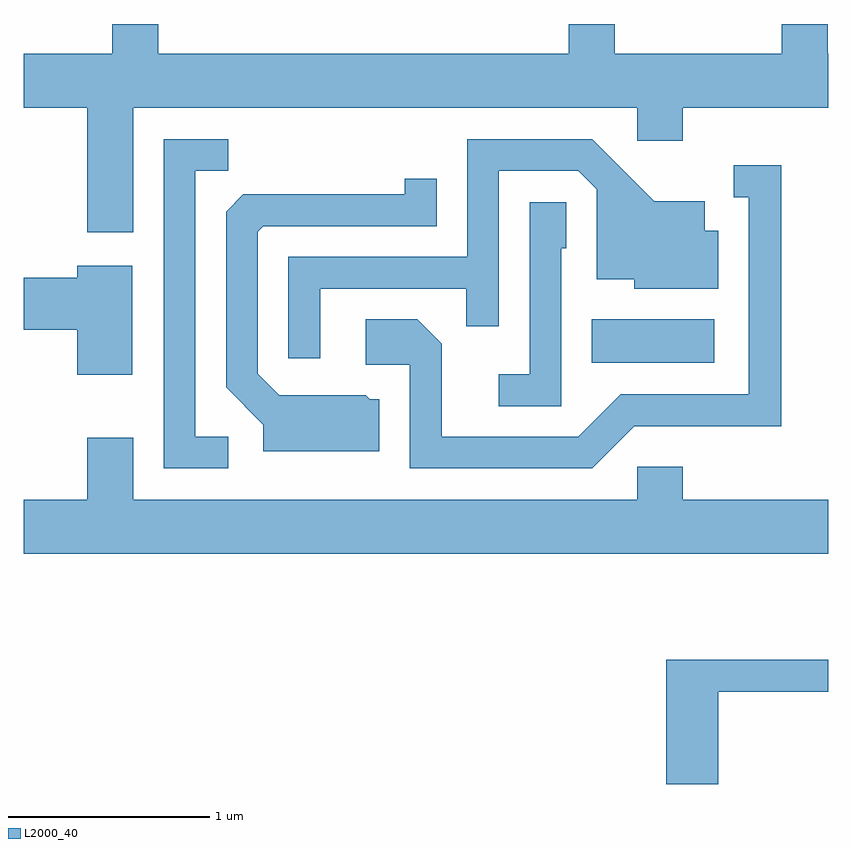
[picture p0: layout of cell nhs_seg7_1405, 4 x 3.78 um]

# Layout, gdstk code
import gdstk
lib = gdstk.Library(unit=1e-6, precision=1e-09)
def R(c, l, rs):  # rectangles x0, y0, x1, y1
    for r in rs: c.add(gdstk.rectangle(r[:2], r[2:], *l))
def P(c, l, *ps):  # polygons
    for p in ps: c.add(gdstk.Polygon(p, *l))
L2000_40 = (2000, 40)

nhs_seg7_1405 = lib.new_cell('nhs_seg7_1405')
R(nhs_seg7_1405, L2000_40, [(230.436,1748.566,231.044,1748.784)])
P(nhs_seg7_1405, L2000_40, [(228.154,1749.836),(230.661,1749.836),(230.661,1749.671),(230.889,1749.671),(230.889,1749.836),(231.611,1749.836),(231.611,1750.104),(231.609,1750.104),(231.609,1750.252),(231.381,1750.252),(231.381,1750.104),(230.549,1750.104),(230.549,1750.252),(230.321,1750.252),(230.321,1750.104),(228.279,1750.104),(228.279,1750.252),(228.051,1750.252),(228.051,1750.104),(227.611,1750.104),(227.611,1749.836),(227.926,1749.836),(227.926,1749.216),(228.154,1749.216)],
  [(229.084,1748.936),(229.811,1748.936),(229.811,1748.748),(229.974,1748.748),(229.974,1749.521),(230.369,1749.521),(230.461,1749.429),(230.461,1748.981),(230.646,1748.981),(230.646,1748.936),(231.064,1748.936),(231.064,1749.224),(230.999,1749.224),(230.999,1749.369),(230.747,1749.369),(230.437,1749.679),(229.816,1749.679),(229.816,1749.094),(228.926,1749.094),(228.926,1748.588),(229.084,1748.588)],
  [(228.628,1748.199),(228.464,1748.199),(228.464,1749.521),(228.628,1749.521),(228.628,1749.679),(228.306,1749.679),(228.306,1748.041),(228.628,1748.041)],
  [(230.647,1748.251),(231.379,1748.251),(231.379,1749.549),(231.143,1749.549),(231.143,1749.391),(231.216,1749.391),(231.216,1748.409),(230.579,1748.409),(230.369,1748.199),(229.689,1748.199),(229.689,1748.662),(229.567,1748.784),(229.311,1748.784),(229.311,1748.556),(229.531,1748.556),(229.531,1748.041),(230.437,1748.041)],
  [(229.379,1748.384),(229.332,1748.384),(229.312,1748.404),(228.882,1748.404),(228.774,1748.512),(228.774,1749.219),(228.802,1749.246),(229.664,1749.246),(229.664,1749.483),(229.506,1749.483),(229.506,1749.404),(228.702,1749.404),(228.616,1749.319),(228.616,1748.444),(228.801,1748.259),(228.801,1748.126),(229.379,1748.126)],
  [(230.284,1749.136),(230.309,1749.136),(230.309,1749.364),(230.126,1749.364),(230.126,1748.509),(229.973,1748.509),(229.973,1748.351),(230.284,1748.351)],
  [(228.149,1749.049),(227.876,1749.049),(227.876,1748.989),(227.611,1748.989),(227.611,1748.731),(227.876,1748.731),(227.876,1748.506),(228.149,1748.506)],
  [(231.611,1747.884),(230.889,1747.884),(230.889,1748.049),(230.661,1748.049),(230.661,1747.884),(228.154,1747.884),(228.154,1748.194),(227.926,1748.194),(227.926,1747.884),(227.611,1747.884),(227.611,1747.616),(231.611,1747.616)],
  [(231.064,1746.931),(231.611,1746.931),(231.611,1747.089),(230.806,1747.089),(230.806,1746.471),(231.064,1746.471)])

lib.write_gds('nhs_seg7_1405.gds')
